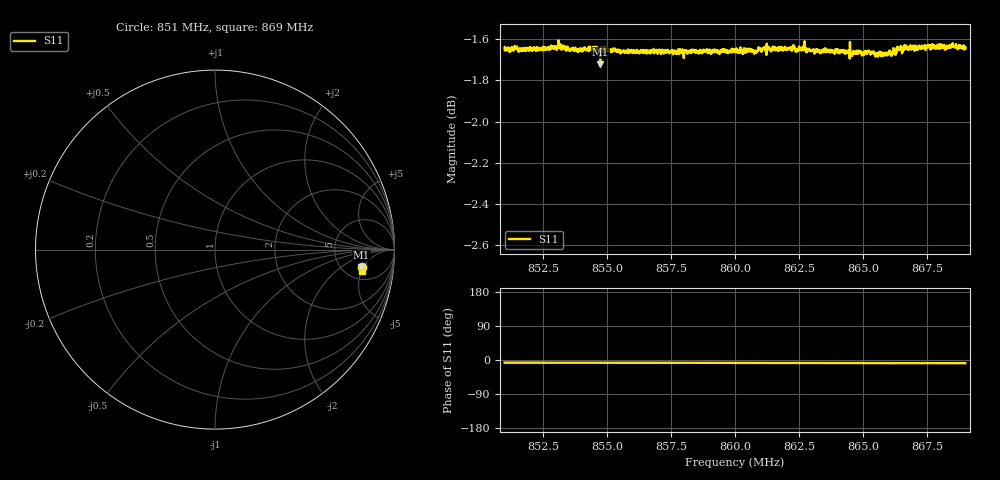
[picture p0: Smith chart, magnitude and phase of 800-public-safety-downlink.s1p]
! Calibrated averaged scanner-service zoom
# Hz S RI R 50
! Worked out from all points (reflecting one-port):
!   2001 points, 851 MHz to 869 MHz, reference 50 ohm
!   lowest |S11| = -1.7 dB at 854.74 MHz (marker M1), VSWR 10.13, Z = 370 - j223 ohm
!   phase of S11 starts at -7 deg and turns -2 deg over the sweep
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8.51e8  0.8212 -0.0971
8.51441e8  0.8224 -0.098
8.5172e8  0.8207 -0.0983
8.52665e8  0.8213 -0.0986
8.52899e8  0.8217 -0.1004
8.5325e8  0.8221 -0.101
8.53475e8  0.821 -0.1011
8.53871e8  0.8204 -0.1013
8.54492e8  0.8208 -0.1031
8.54735e8  0.8143 -0.0987
8.555e8  0.8194 -0.1046
8.5775e8  0.8189 -0.1057
8.6e8  0.8185 -0.1095
8.60783e8  0.8181 -0.1106
8.6117e8  0.8196 -0.1113
8.6225e8  0.8198 -0.1121
8.645e8  0.8168 -0.1151
8.65166e8  0.8178 -0.1168
8.65535e8  0.8166 -0.1163
8.65913e8  0.8162 -0.1185
8.66192e8  0.8161 -0.1202
8.66399e8  0.8184 -0.1183
8.6675e8  0.8193 -0.1187
8.67191e8  0.8194 -0.1179
8.67371e8  0.8191 -0.1186
8.6756e8  0.8196 -0.1195
8.68577e8  0.8193 -0.12
8.69e8  0.8186 -0.1207
